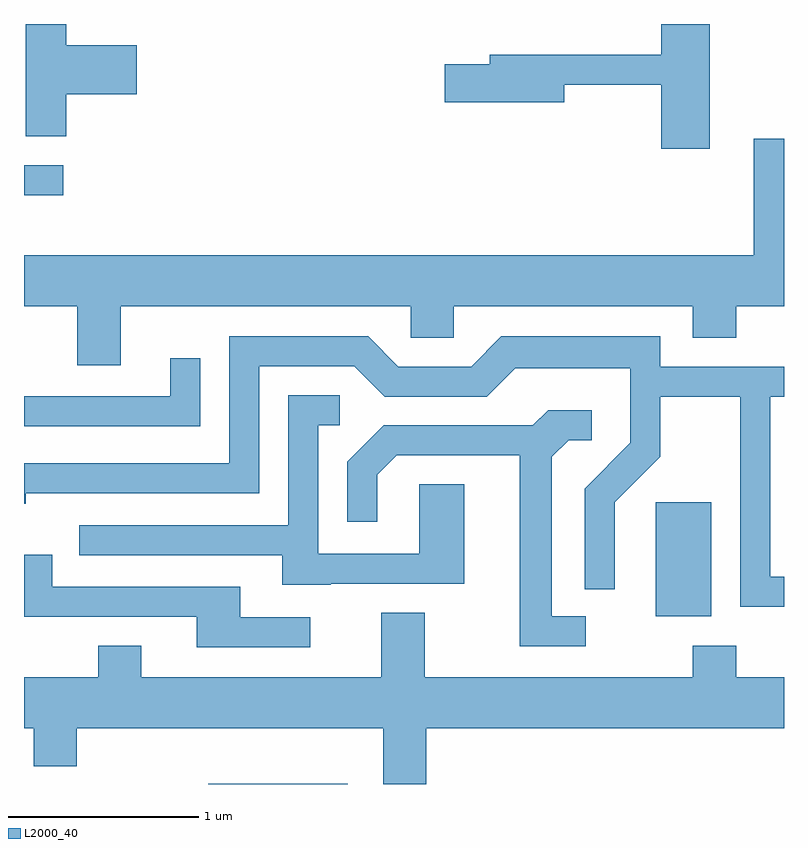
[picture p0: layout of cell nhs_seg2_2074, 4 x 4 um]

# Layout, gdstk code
import gdstk
lib = gdstk.Library(unit=1e-6, precision=1e-09)
def R(c, l, rs):  # rectangles x0, y0, x1, y1
    for r in rs: c.add(gdstk.rectangle(r[:2], r[2:], *l))
def P(c, l, *ps):  # polygons
    for p in ps: c.add(gdstk.Polygon(p, *l))
L2000_40 = (2000, 40)

nhs_seg2_2074 = lib.new_cell('nhs_seg2_2074')
R(nhs_seg2_2074, L2000_40, [(246.581,1045.802,247.314,1045.804), (248.936,1046.686,249.229,1047.284), (245.611,1048.901,245.818,1049.059)])
P(nhs_seg2_2074, L2000_40, [(249.219,1049.802),(248.966,1049.802),(248.966,1049.639),(248.061,1049.639),(248.061,1049.589),(247.826,1049.589),(247.826,1049.391),(248.454,1049.391),(248.454,1049.481),(248.966,1049.481),(248.966,1049.146),(249.219,1049.146)],
  [(245.834,1049.431),(246.204,1049.431),(246.204,1049.689),(245.834,1049.689),(245.834,1049.802),(245.621,1049.802),(245.621,1049.211),(245.834,1049.211)],
  [(246.119,1048.316),(247.646,1048.316),(247.646,1048.151),(247.874,1048.151),(247.874,1048.316),(249.131,1048.316),(249.131,1048.151),(249.359,1048.151),(249.359,1048.316),(249.611,1048.316),(249.611,1049.199),(249.451,1049.199),(249.451,1048.584),(245.611,1048.584),(245.611,1048.316),(245.891,1048.316),(245.891,1048.006),(246.119,1048.006)],
  [(249.611,1046.894),(249.539,1046.894),(249.539,1047.841),(249.611,1047.841),(249.611,1047.999),(248.959,1047.999),(248.959,1048.159),(248.124,1048.159),(247.964,1047.999),(247.582,1047.999),(247.422,1048.159),(246.691,1048.159),(246.691,1047.489),(245.611,1047.489),(245.611,1047.276),(245.619,1047.276),(245.619,1047.331),(246.849,1047.331),(246.849,1048.001),(247.349,1048.001),(247.509,1047.841),(248.047,1047.841),(248.197,1047.991),(248.801,1047.991),(248.801,1047.597),(248.561,1047.357),(248.561,1046.828),(248.719,1046.828),(248.719,1047.284),(248.959,1047.524),(248.959,1047.841),(249.381,1047.841),(249.381,1046.736),(249.611,1046.736)],
  [(246.539,1048.043),(246.381,1048.043),(246.381,1047.844),(245.611,1047.844),(245.611,1047.686),(246.539,1047.686)],
  [(247.225,1046.856),(247.929,1046.856),(247.929,1047.379),(247.691,1047.379),(247.691,1047.014),(247.159,1047.014),(247.159,1047.691),(247.273,1047.691),(247.273,1047.849),(247.001,1047.849),(247.001,1047.164),(245.903,1047.164),(245.903,1047.006),(246.971,1047.006),(246.971,1046.851),(247.225,1046.851)],
  [(248.568,1046.684),(248.389,1046.684),(248.389,1047.524),(248.477,1047.611),(248.598,1047.611),(248.598,1047.769),(248.369,1047.769),(248.289,1047.689),(247.504,1047.689),(247.311,1047.497),(247.311,1047.183),(247.469,1047.183),(247.469,1047.429),(247.572,1047.531),(248.221,1047.531),(248.221,1046.526),(248.568,1046.526)],
  [(247.118,1046.679),(246.749,1046.679),(246.749,1046.839),(245.759,1046.839),(245.759,1047.009),(245.611,1047.009),(245.611,1046.681),(246.521,1046.681),(246.521,1046.521),(247.118,1046.521)],
  [(247.729,1046.096),(249.611,1046.096),(249.611,1046.364),(249.359,1046.364),(249.359,1046.529),(249.131,1046.529),(249.131,1046.364),(247.719,1046.364),(247.719,1046.704),(247.491,1046.704),(247.491,1046.364),(246.229,1046.364),(246.229,1046.529),(246.001,1046.529),(246.001,1046.364),(245.611,1046.364),(245.611,1046.096),(245.661,1046.096),(245.661,1045.896),(245.889,1045.896),(245.889,1046.096),(247.501,1046.096),(247.501,1045.802),(247.729,1045.802)])

lib.write_gds('nhs_seg2_2074.gds')
